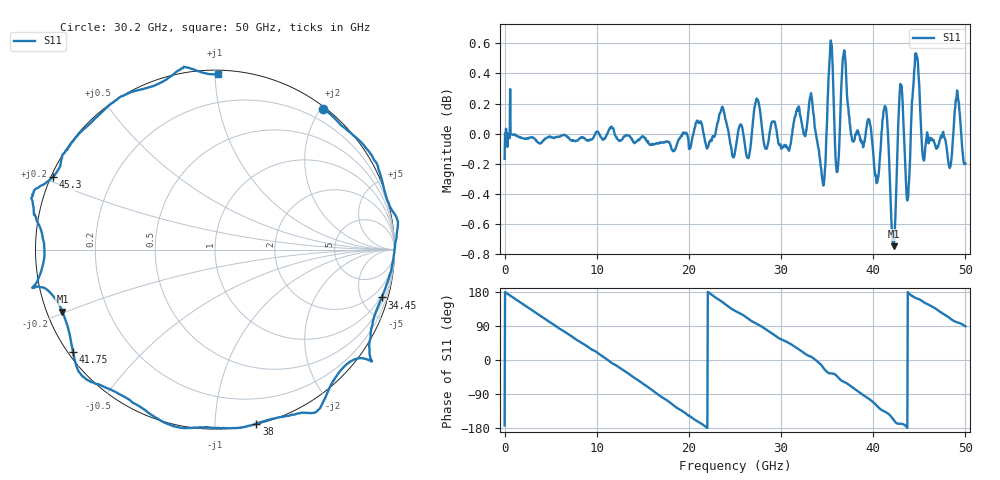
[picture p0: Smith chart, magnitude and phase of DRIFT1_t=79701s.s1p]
!Created with skrf (http://scikit-rf.org).
# Hz S RI R 50.0
!freq ReS11 ImS11
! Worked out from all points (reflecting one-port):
!   1001 points, 300 kHz to 50 GHz, reference 50 ohm
!   lowest |S11| = -0.7 dB at 42.2 GHz (marker M1), VSWR 23.21, Z = 2.24 - j9.75 ohm
!   phase of S11 starts at -173 deg and turns -818 deg over the sweep
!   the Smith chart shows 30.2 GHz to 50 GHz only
!   S11 on the Smith chart (normalised r, x): 30.2 GHz: 0.03, +2.03; 34.45 GHz: 0.86, -7.01; 38 GHz: 0.01, -1.27; 41.75 GHz: 0.01, -0.32; 45.3 GHz: 0.01, +0.21; 50 GHz: 0.02, +1.02
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300000  -0.9732 -0.1224
1.450291e9  -0.9126 0.4039
3.25028e9  -0.5931 0.8003
6.250262e9  0.1986 0.9787
9.500243e9  0.8874 0.4517
1.250022e10  0.9306 -0.3511
1.580021e10  0.2428 -0.9611
1.74002e10  -0.2229 -0.9682
1.875019e10  -0.5984 -0.7924
2.165017e10  -0.9903 -0.1223
2.345016e10  -0.9297 0.4119
2.500015e10  -0.6272 0.7607
2.745014e10  -0.0837 1.023
3.020012e10  0.6036 0.7843
3.125011e10  0.7821 0.6284
3.31501e10  1.014 0.173
3.445009e10  0.9294 -0.2667
3.520009e10  0.8651 -0.5937
3.750008e10  0.3803 -0.9319
3.800007e10  0.2306 -0.9691
3.965006e10  -0.2529 -0.9748
4.175005e10  -0.7915 -0.5707
4.220005e10  -0.8499 -0.3454
4.290004e10  -1.014 -0.2082
4.375004e10  -0.9512 0.0123
4.530003e10  -0.9023 0.4056
4.765001e10  -0.5143 0.8558
5e10  0.0183 0.9772
